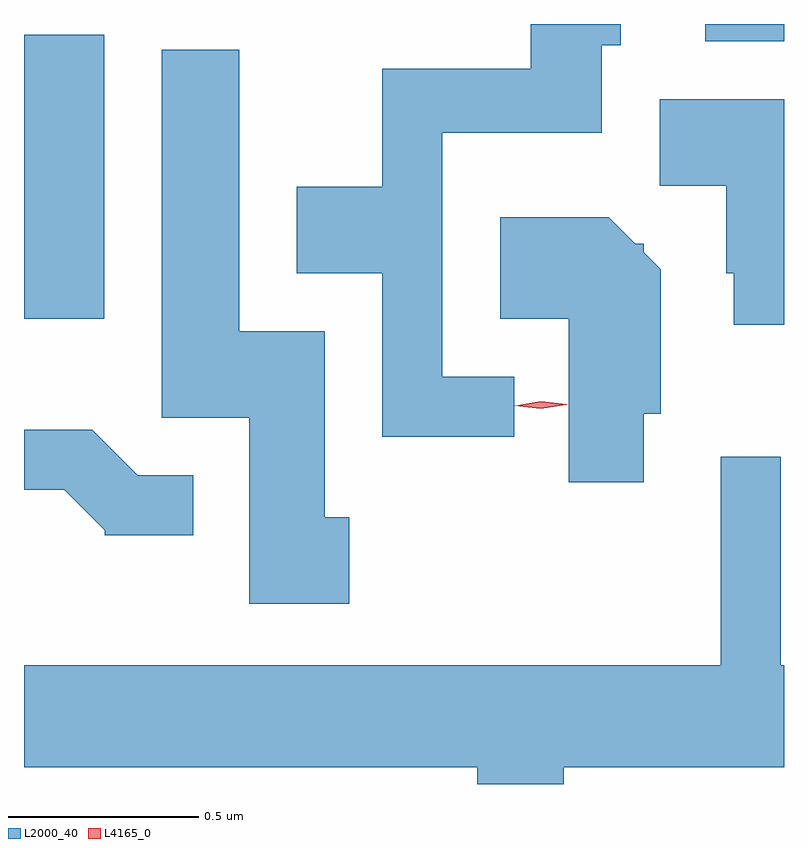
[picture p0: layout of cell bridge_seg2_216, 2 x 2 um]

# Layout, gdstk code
import gdstk
lib = gdstk.Library(unit=1e-6, precision=1e-09)
def R(c, l, rs):  # rectangles x0, y0, x1, y1
    for r in rs: c.add(gdstk.rectangle(r[:2], r[2:], *l))
def P(c, l, *ps):  # polygons
    for p in ps: c.add(gdstk.Polygon(p, *l))
L2000_40 = (2000, 40)
L4165_0 = (4165, 0)

bridge_seg2_216 = lib.new_cell('bridge_seg2_216')
R(bridge_seg2_216, L2000_40, [(921.998,1000.656,922.209,1001.404), (923.791,1001.386,923.998,1001.432)])
P(bridge_seg2_216, L2000_40, [(923.288,1000.504),(923.099,1000.504),(923.099,1001.146),(923.519,1001.146),(923.519,1001.376),(923.568,1001.376),(923.568,1001.432),(923.331,1001.432),(923.331,1001.314),(922.941,1001.314),(922.941,1001.004),(922.716,1001.004),(922.716,1000.776),(922.941,1000.776),(922.941,1000.346),(923.288,1000.346)],
  [(922.854,1000.134),(922.789,1000.134),(922.789,1000.624),(922.564,1000.624),(922.564,1001.364),(922.361,1001.364),(922.361,1000.396),(922.591,1000.396),(922.591,999.906),(922.854,999.906)],
  [(923.998,1001.234),(923.671,1001.234),(923.671,1001.006),(923.846,1001.006),(923.846,1000.776),(923.866,1000.776),(923.866,1000.641),(923.998,1000.641)],
  [(923.629,1000.406),(923.674,1000.406),(923.674,1000.787),(923.629,1000.832),(923.629,1000.854),(923.607,1000.854),(923.537,1000.924),(923.251,1000.924),(923.251,1000.656),(923.431,1000.656),(923.431,1000.226),(923.629,1000.226)],
  [(922.443,1000.244),(922.297,1000.244),(922.177,1000.364),(921.998,1000.364),(921.998,1000.206),(922.104,1000.206),(922.21,1000.1),(922.21,1000.086),(922.443,1000.086)],
  [(923.419,999.476),(923.998,999.476),(923.998,999.744),(923.989,999.744),(923.989,1000.293),(923.831,1000.293),(923.831,999.744),(921.998,999.744),(921.998,999.476),(923.191,999.476),(923.191,999.432),(923.419,999.432)])
P(bridge_seg2_216, L4165_0, [(923.358,1000.419),(923.289,1000.427),(923.289,1000.428),(923.289,1000.428),(923.358,1000.439),(923.426,1000.431),(923.427,1000.43),(923.426,1000.43)])

lib.write_gds('bridge_seg2_216.gds')
